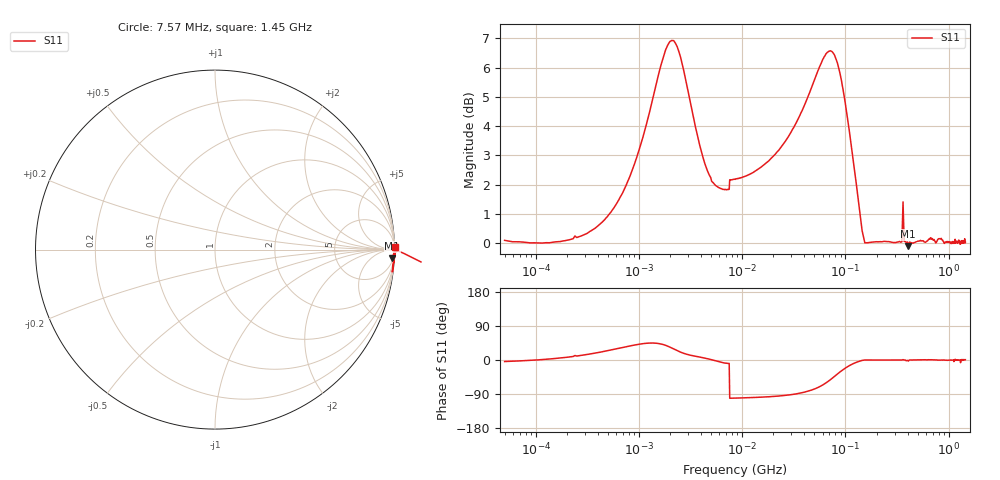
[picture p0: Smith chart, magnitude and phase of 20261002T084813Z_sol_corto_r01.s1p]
! piloto_deriva / sol_corto / r01
# HZ S RI R 50
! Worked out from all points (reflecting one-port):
!   501 points, 50 kHz to 1.45 GHz, reference 50 ohm
!   lowest |S11| = -0.1 dB at 406 MHz (marker M1), VSWR 163.78, Z = 489 - j1.94e+03 ohm
!   phase of S11 starts at -4 deg and turns +5 deg over the sweep
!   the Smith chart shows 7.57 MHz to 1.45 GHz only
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50000  1.008 -0.0707
183000  1.003 0.1054
363500  1.007 0.3167
658000  1.02 0.627
1180000  1.145 1.11
1630000  1.489 1.353
1990000  1.83 1.239
2440000  1.958 0.8174
2800000  1.844 0.5419
3340000  1.621 0.3192
4690000  1.317 0.0692
7300000  1.219 -0.193
7750000  -0.2405 -1.26
8560000  -0.2345 -1.263
1.81e7  -0.169 -1.372
3.16e7  -0.0116 -1.577
4.78e7  0.3675 -1.824
5.68e7  0.6971 -1.885
6.49e7  1.047 -1.829
7.39e7  1.398 -1.6
8.65e7  1.652 -1.1
9.82e7  1.627 -0.6751
1e8  1.609 -0.6211
1.18e8  1.377 -0.2446
1.36e8  1.147 -0.0687
1.63e8  1.001 0.00101
4.06e8  0.9867 -0.0479
1.45e9  1.003 0.0133
